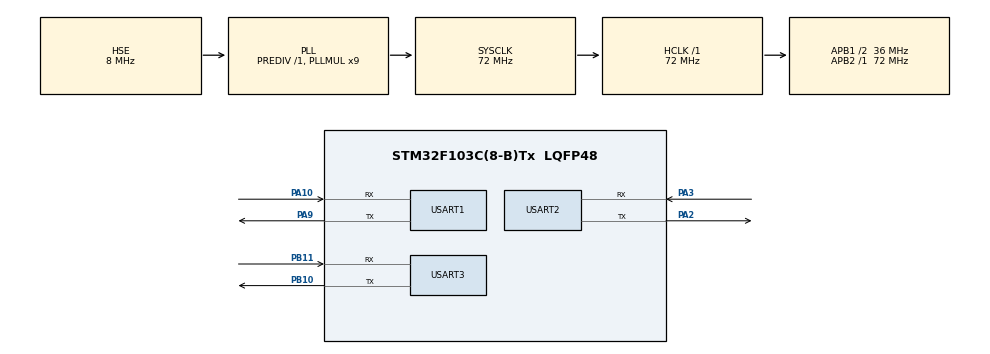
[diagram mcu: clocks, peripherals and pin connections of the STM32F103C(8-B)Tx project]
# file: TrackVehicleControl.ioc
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Dma.Request0=USART1_TX
Dma.Request1=USART2_TX
Dma.Request2=USART3_TX
Dma.USART1_TX.0.Direction=DMA_MEMORY_TO_PERIPH
Dma.USART1_TX.0.Instance=DMA1_Channel4
Dma.USART1_TX.0.MemDataAlignment=DMA_MDATAALIGN_BYTE
Dma.USART1_TX.0.MemInc=DMA_MINC_ENABLE
Dma.USART1_TX.0.Mode=DMA_NORMAL
Dma.USART1_TX.0.PeriphDataAlignment=DMA_PDATAALIGN_BYTE
Dma.USART1_TX.0.PeriphInc=DMA_PINC_DISABLE
Dma.USART1_TX.0.Priority=DMA_PRIORITY_LOW
Dma.USART2_TX.1.Direction=DMA_MEMORY_TO_PERIPH
Dma.USART2_TX.1.Instance=DMA1_Channel7
Dma.USART2_TX.1.MemDataAlignment=DMA_MDATAALIGN_BYTE
Dma.USART2_TX.1.MemInc=DMA_MINC_ENABLE
Dma.USART2_TX.1.Mode=DMA_NORMAL
Dma.USART2_TX.1.PeriphDataAlignment=DMA_PDATAALIGN_BYTE
Dma.USART2_TX.1.PeriphInc=DMA_PINC_DISABLE
Dma.USART2_TX.1.Priority=DMA_PRIORITY_LOW
Dma.USART3_TX.2.Direction=DMA_MEMORY_TO_PERIPH
Dma.USART3_TX.2.Instance=DMA1_Channel2
Dma.USART3_TX.2.MemDataAlignment=DMA_MDATAALIGN_BYTE
Dma.USART3_TX.2.MemInc=DMA_MINC_ENABLE
Dma.USART3_TX.2.Mode=DMA_NORMAL
Dma.USART3_TX.2.PeriphDataAlignment=DMA_PDATAALIGN_BYTE
Dma.USART3_TX.2.PeriphInc=DMA_PINC_DISABLE
Dma.USART3_TX.2.Priority=DMA_PRIORITY_LOW
Mcu.Family=STM32F1
Mcu.Name=STM32F103C(8-B)Tx
Mcu.Package=LQFP48
NVIC.DMA1_Channel2_IRQn=true\:0\:0\:false\:false\:true\:false\:true
NVIC.DMA1_Channel4_IRQn=true\:0\:0\:false\:false\:true\:false\:true
NVIC.DMA1_Channel7_IRQn=true\:0\:0\:false\:false\:true\:false\:true
NVIC.PriorityGroup=NVIC_PRIORITYGROUP_4
NVIC.TIM4_IRQn=true\:0\:0\:false\:false\:true\:true\:true
NVIC.USART1_IRQn=true\:0\:0\:false\:false\:true\:true\:true
NVIC.USART2_IRQn=true\:0\:0\:false\:false\:true\:true\:true
NVIC.USART3_IRQn=true\:0\:0\:false\:false\:true\:true\:true
PA10.Mode=Asynchronous
PA10.Signal=USART1_RX
PA13.Mode=Serial_Wire
PA13.Signal=SYS_JTMS-SWDIO
PA14.Mode=Serial_Wire
PA14.Signal=SYS_JTCK-SWCLK
PA2.Mode=Asynchronous
PA2.Signal=USART2_TX
PA3.Mode=Asynchronous
PA3.Signal=USART2_RX
PA9.Mode=Asynchronous
PA9.Signal=USART1_TX
PB10.Mode=Asynchronous
PB10.Signal=USART3_TX
PB11.Mode=Asynchronous
PB11.Signal=USART3_RX
PD0-OSC_IN.Mode=HSE-External-Oscillator
PD0-OSC_IN.Signal=RCC_OSC_IN
PD1-OSC_OUT.Mode=HSE-External-Oscillator
PD1-OSC_OUT.Signal=RCC_OSC_OUT
ProjectManager.HeapSize=0x200
ProjectManager.StackSize=0x400
ProjectManager.TargetToolchain=STM32CubeIDE
RCC.AHBFreq_Value=72000000
RCC.APB1CLKDivider=RCC_HCLK_DIV2
RCC.APB1Freq_Value=36000000
RCC.APB1TimFreq_Value=72000000
RCC.APB2Freq_Value=72000000
RCC.APB2TimFreq_Value=72000000
RCC.HCLKFreq_Value=72000000
RCC.PLLMUL=RCC_PLL_MUL9
RCC.PLLSourceVirtual=RCC_PLLSOURCE_HSE
RCC.SYSCLKFreq_VALUE=72000000
RCC.SYSCLKSource=RCC_SYSCLKSOURCE_PLLCLK
RCC.USBFreq_Value=72000000
TIM4.Period=999
TIM4.Prescaler=71
USART1.VirtualMode=VM_ASYNC
USART2.VirtualMode=VM_ASYNC
USART3.VirtualMode=VM_ASYNC
VP_TIM4_VS_ClockSourceINT.Mode=Internal
board=custom

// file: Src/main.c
/* USER CODE BEGIN Header */
/**
  ******************************************************************************
  * @file           : main.c
  * @brief          : Main program body
  ******************************************************************************
  * @attention
  *
  * <h2><center>&copy; Copyright (c) 2019 STMicroelectronics.
  * All rights reserved.</center></h2>
  *
  * This software component is licensed by ST under BSD 3-Clause license,
  * the "License"; You may not use this file except in compliance with the
  * License. You may obtain a copy of the License at:
  *                        opensource.org/licenses/BSD-3-Clause
  *
  ******************************************************************************
  */
/* USER CODE END Header */

#include "main.h"

/* USER CODE BEGIN Includes */

#include "main.h"
#include "ctl.h"
#include "uart1.h"
#include "uart2.h"
#include "uart3.h"
#include "ser1.h"
#include "ser2.h"
#include "ser3.h"
#include "typ.h"
#include "ste1.h"
#include "tim4.h"

/* USER CODE END Includes */

TIM_HandleTypeDef htim4;

UART_HandleTypeDef huart1;
UART_HandleTypeDef huart2;
UART_HandleTypeDef huart3;
DMA_HandleTypeDef hdma_usart1_tx;
DMA_HandleTypeDef hdma_usart2_tx;
DMA_HandleTypeDef hdma_usart3_tx;

void SystemClock_Config(void);
static void MX_GPIO_Init(void);
static void MX_DMA_Init(void);
static void MX_USART1_UART_Init(void);
static void MX_USART2_UART_Init(void);
static void MX_USART3_UART_Init(void);
static void MX_TIM4_Init(void);

int main(void)
{

  /* MCU Configuration--------------------------------------------------------*/

  /* Reset of all peripherals, Initializes the Flash interface and the Systick. */
  HAL_Init();

  /* Configure the system clock */
  SystemClock_Config();

  /* Initialize all configured peripherals */
  MX_GPIO_Init();
  MX_DMA_Init();
  MX_USART1_UART_Init();
  MX_USART2_UART_Init();
  MX_USART3_UART_Init();
  MX_TIM4_Init();
  /* USER CODE BEGIN 2 */

  UART3_Ini();
  TIM4_Ini();
  CTL_Ini();

  /* USER CODE END 2 */

  /* Infinite loop */
  while (1)
  {

    /* USER CODE BEGIN 3 */

	  CTL_Main();
  }
  /* USER CODE END 3 */
}

void SystemClock_Config(void)
{
  RCC_OscInitTypeDef RCC_OscInitStruct = {0};
  RCC_ClkInitTypeDef RCC_ClkInitStruct = {0};

  /** Initializes the CPU, AHB and APB busses clocks
  */
  RCC_OscInitStruct.OscillatorType = RCC_OSCILLATORTYPE_HSE;
  RCC_OscInitStruct.HSEState = RCC_HSE_ON;
  RCC_OscInitStruct.HSEPredivValue = RCC_HSE_PREDIV_DIV1;
  RCC_OscInitStruct.HSIState = RCC_HSI_ON;
  RCC_OscInitStruct.PLL.PLLState = RCC_PLL_ON;
  RCC_OscInitStruct.PLL.PLLSource = RCC_PLLSOURCE_HSE;
  RCC_OscInitStruct.PLL.PLLMUL = RCC_PLL_MUL9;
  if (HAL_RCC_OscConfig(&RCC_OscInitStruct) != HAL_OK)
  {
    Error_Handler();
  }
  /** Initializes the CPU, AHB and APB busses clocks
  */
  RCC_ClkInitStruct.ClockType = RCC_CLOCKTYPE_HCLK|RCC_CLOCKTYPE_SYSCLK
                              |RCC_CLOCKTYPE_PCLK1|RCC_CLOCKTYPE_PCLK2;
  RCC_ClkInitStruct.SYSCLKSource = RCC_SYSCLKSOURCE_PLLCLK;
  RCC_ClkInitStruct.AHBCLKDivider = RCC_SYSCLK_DIV1;
  RCC_ClkInitStruct.APB1CLKDivider = RCC_HCLK_DIV2;
  RCC_ClkInitStruct.APB2CLKDivider = RCC_HCLK_DIV1;

  if (HAL_RCC_ClockConfig(&RCC_ClkInitStruct, FLASH_LATENCY_2) != HAL_OK)
  {
    Error_Handler();
  }
}

static void MX_TIM4_Init(void)
{

  TIM_ClockConfigTypeDef sClockSourceConfig = {0};
  TIM_MasterConfigTypeDef sMasterConfig = {0};

  htim4.Instance = TIM4;
  htim4.Init.Prescaler = 71;
  htim4.Init.CounterMode = TIM_COUNTERMODE_UP;
  htim4.Init.Period = 999;
  htim4.Init.ClockDivision = TIM_CLOCKDIVISION_DIV1;
  htim4.Init.AutoReloadPreload = TIM_AUTORELOAD_PRELOAD_DISABLE;
  if (HAL_TIM_Base_Init(&htim4) != HAL_OK)
  {
    Error_Handler();
  }
  sClockSourceConfig.ClockSource = TIM_CLOCKSOURCE_INTERNAL;
  if (HAL_TIM_ConfigClockSource(&htim4, &sClockSourceConfig) != HAL_OK)
  {
    Error_Handler();
  }
  sMasterConfig.MasterOutputTrigger = TIM_TRGO_RESET;
  sMasterConfig.MasterSlaveMode = TIM_MASTERSLAVEMODE_DISABLE;
  if (HAL_TIMEx_MasterConfigSynchronization(&htim4, &sMasterConfig) != HAL_OK)
  {
    Error_Handler();
  }

}

static void MX_USART1_UART_Init(void)
{

  huart1.Instance = USART1;
  huart1.Init.BaudRate = 115200;
  huart1.Init.WordLength = UART_WORDLENGTH_8B;
  huart1.Init.StopBits = UART_STOPBITS_1;
  huart1.Init.Parity = UART_PARITY_NONE;
  huart1.Init.Mode = UART_MODE_TX_RX;
  huart1.Init.HwFlowCtl = UART_HWCONTROL_NONE;
  huart1.Init.OverSampling = UART_OVERSAMPLING_16;
  if (HAL_UART_Init(&huart1) != HAL_OK)
  {
    Error_Handler();
  }

}

static void MX_USART2_UART_Init(void)
{

  huart2.Instance = USART2;
  huart2.Init.BaudRate = 115200;
  huart2.Init.WordLength = UART_WORDLENGTH_8B;
  huart2.Init.StopBits = UART_STOPBITS_1;
  huart2.Init.Parity = UART_PARITY_NONE;
  huart2.Init.Mode = UART_MODE_TX_RX;
  huart2.Init.HwFlowCtl = UART_HWCONTROL_NONE;
  huart2.Init.OverSampling = UART_OVERSAMPLING_16;
  if (HAL_UART_Init(&huart2) != HAL_OK)
  {
    Error_Handler();
  }

}

static void MX_USART3_UART_Init(void)
{

  huart3.Instance = USART3;
  huart3.Init.BaudRate = 115200;
  huart3.Init.WordLength = UART_WORDLENGTH_8B;
  huart3.Init.StopBits = UART_STOPBITS_1;
  huart3.Init.Parity = UART_PARITY_NONE;
  huart3.Init.Mode = UART_MODE_TX_RX;
  huart3.Init.HwFlowCtl = UART_HWCONTROL_NONE;
  huart3.Init.OverSampling = UART_OVERSAMPLING_16;
  if (HAL_UART_Init(&huart3) != HAL_OK)
  {
    Error_Handler();
  }

}

static void MX_DMA_Init(void)
{
  /* DMA controller clock enable */
  __HAL_RCC_DMA1_CLK_ENABLE();

  /* DMA interrupt init */
  /* DMA1_Channel2_IRQn interrupt configuration */
  HAL_NVIC_SetPriority(DMA1_Channel2_IRQn, 0, 0);
  HAL_NVIC_EnableIRQ(DMA1_Channel2_IRQn);
  /* DMA1_Channel4_IRQn interrupt configuration */
  HAL_NVIC_SetPriority(DMA1_Channel4_IRQn, 0, 0);
  HAL_NVIC_EnableIRQ(DMA1_Channel4_IRQn);
  /* DMA1_Channel7_IRQn interrupt configuration */
  HAL_NVIC_SetPriority(DMA1_Channel7_IRQn, 0, 0);
  HAL_NVIC_EnableIRQ(DMA1_Channel7_IRQn);

}

static void MX_GPIO_Init(void)
{

  /* GPIO Ports Clock Enable */
  __HAL_RCC_GPIOD_CLK_ENABLE();
  __HAL_RCC_GPIOA_CLK_ENABLE();
  __HAL_RCC_GPIOB_CLK_ENABLE();

}

/* USER CODE BEGIN 4 */

/******************************************************************************
*  Function Name  :
*  Description    :
*  Parameter(s)   :
*  Return Value   :
******************************************************************************/

void HAL_UART_RxCpltCallback(UART_HandleTypeDef *huart)
{
	if (huart->Instance == USART3)
	{
		UART3_HAL_UART_RxCpltCallback(huart);
	}

}

/******************************************************************************
*  Function Name  :
*  Description    :
*  Parameter(s)   :
*  Return Value   :
******************************************************************************/

void HAL_TIM_PeriodElapsedCallback(TIM_HandleTypeDef *htim)
{
	TIM4_HAL_TIM_PeriodElapsedCallback(htim);

}

/* USER CODE END 4 */

void Error_Handler(void)
{
}

/************************ (C) COPYRIGHT STMicroelectronics *****END OF FILE****/
